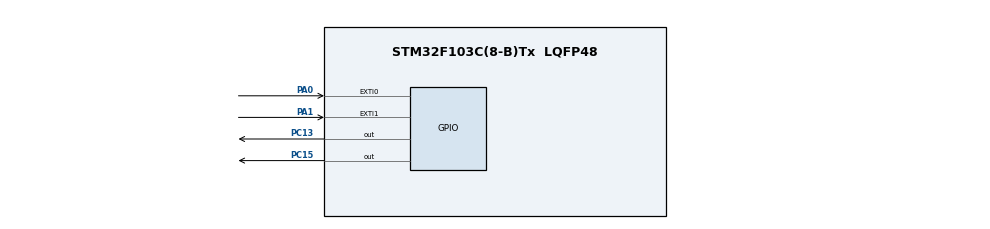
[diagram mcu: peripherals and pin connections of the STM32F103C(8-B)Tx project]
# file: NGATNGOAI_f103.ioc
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Mcu.Family=STM32F1
PC13-TAMPER-RTC.Signal=GPIO_Output
PA0-WKUP.GPIO_ModeDefaultEXTI=GPIO_MODE_IT_FALLING
ProjectManager.StackSize=0x400
PA0-WKUP.Signal=GPXTI0
PA13.Signal=SYS_JTMS-SWDIO
NVIC.EXTI1_IRQn=true\:1\:0\:true\:false\:true\:true\:true
ProjectManager.TargetToolchain=STM32CubeIDE
PC15-OSC32_OUT.Signal=GPIO_Output
PA1.GPIO_PuPd=GPIO_PULLUP
PA1.Signal=GPXTI1
board=custom
RCC.APB2Freq_Value=8000000
PA14.Mode=Serial_Wire
PA13.Mode=Serial_Wire
Mcu.Name=STM32F103C(8-B)Tx
NVIC.EXTI0_IRQn=true\:2\:0\:true\:false\:true\:true\:true
Mcu.Package=LQFP48
PA14.Signal=SYS_JTCK-SWCLK
ProjectManager.HeapSize=0x200
NVIC.PriorityGroup=NVIC_PRIORITYGROUP_4
PA0-WKUP.GPIO_PuPd=GPIO_PULLUP
RCC.APB1Freq_Value=8000000
PA1.GPIO_ModeDefaultEXTI=GPIO_MODE_IT_FALLING

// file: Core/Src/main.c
/* USER CODE BEGIN Header */
/**
  ******************************************************************************
  * @file           : main.c
  * @brief          : Main program body
  ******************************************************************************
  * @attention
  *
  * <h2><center>&copy; Copyright (c) 2021 STMicroelectronics.
  * All rights reserved.</center></h2>
  *
  * This software component is licensed by ST under BSD 3-Clause license,
  * the "License"; You may not use this file except in compliance with the
  * License. You may obtain a copy of the License at:
  *                        opensource.org/licenses/BSD-3-Clause
  *
  ******************************************************************************
  */
/* USER CODE END Header */
#include "main.h"

/* USER CODE BEGIN PD */
uint32_t x=0;

/* USER CODE END PD */

void SystemClock_Config(void);
static void MX_GPIO_Init(void);

int main(void)
{

  /* MCU Configuration--------------------------------------------------------*/

  /* Reset of all peripherals, Initializes the Flash interface and the Systick. */
  HAL_Init();

  /* Configure the system clock */
  SystemClock_Config();

  /* Initialize all configured peripherals */
  MX_GPIO_Init();

  /* Infinite loop */
  /* USER CODE BEGIN WHILE */
  while (1)
  {
	  HAL_GPIO_TogglePin(GPIOC,GPIO_PIN_13);
	  HAL_Delay(200);
	  if(x!=0){
	  			x=0;
	  		}
    /* USER CODE END WHILE */

  }
}

void SystemClock_Config(void)
{
  RCC_OscInitTypeDef RCC_OscInitStruct = {0};
  RCC_ClkInitTypeDef RCC_ClkInitStruct = {0};

  /** Initializes the RCC Oscillators according to the specified parameters
  * in the RCC_OscInitTypeDef structure.
  */
  RCC_OscInitStruct.OscillatorType = RCC_OSCILLATORTYPE_HSI;
  RCC_OscInitStruct.HSIState = RCC_HSI_ON;
  RCC_OscInitStruct.HSICalibrationValue = RCC_HSICALIBRATION_DEFAULT;
  RCC_OscInitStruct.PLL.PLLState = RCC_PLL_NONE;
  if (HAL_RCC_OscConfig(&RCC_OscInitStruct) != HAL_OK)
  {
    Error_Handler();
  }
  /** Initializes the CPU, AHB and APB buses clocks
  */
  RCC_ClkInitStruct.ClockType = RCC_CLOCKTYPE_HCLK|RCC_CLOCKTYPE_SYSCLK
                              |RCC_CLOCKTYPE_PCLK1|RCC_CLOCKTYPE_PCLK2;
  RCC_ClkInitStruct.SYSCLKSource = RCC_SYSCLKSOURCE_HSI;
  RCC_ClkInitStruct.AHBCLKDivider = RCC_SYSCLK_DIV1;
  RCC_ClkInitStruct.APB1CLKDivider = RCC_HCLK_DIV1;
  RCC_ClkInitStruct.APB2CLKDivider = RCC_HCLK_DIV1;

  if (HAL_RCC_ClockConfig(&RCC_ClkInitStruct, FLASH_LATENCY_0) != HAL_OK)
  {
    Error_Handler();
  }
}

static void MX_GPIO_Init(void)
{
  GPIO_InitTypeDef GPIO_InitStruct = {0};

  /* GPIO Ports Clock Enable */
  __HAL_RCC_GPIOC_CLK_ENABLE();
  __HAL_RCC_GPIOA_CLK_ENABLE();

  /*Configure GPIO pin Output Level */
  HAL_GPIO_WritePin(GPIOC, GPIO_PIN_13|GPIO_PIN_15, GPIO_PIN_RESET);

  /*Configure GPIO pins : PC13 PC15 */
  GPIO_InitStruct.Pin = GPIO_PIN_13|GPIO_PIN_15;
  GPIO_InitStruct.Mode = GPIO_MODE_OUTPUT_PP;
  GPIO_InitStruct.Pull = GPIO_NOPULL;
  GPIO_InitStruct.Speed = GPIO_SPEED_FREQ_LOW;
  HAL_GPIO_Init(GPIOC, &GPIO_InitStruct);

  /*Configure GPIO pins : PA0 PA1 */
  GPIO_InitStruct.Pin = GPIO_PIN_0|GPIO_PIN_1;
  GPIO_InitStruct.Mode = GPIO_MODE_IT_FALLING;
  GPIO_InitStruct.Pull = GPIO_PULLUP;
  HAL_GPIO_Init(GPIOA, &GPIO_InitStruct);

  /* EXTI interrupt init*/
  HAL_NVIC_SetPriority(EXTI0_IRQn, 2, 0);
  HAL_NVIC_EnableIRQ(EXTI0_IRQn);

  HAL_NVIC_SetPriority(EXTI1_IRQn, 1, 0);
  HAL_NVIC_EnableIRQ(EXTI1_IRQn);

}

/* USER CODE BEGIN 4 */

void HAL_GPIO_EXTI_Callback(uint16_t GPIO_Pin){
	delay_me(1000);
	if (GPIO_Pin == GPIO_PIN_0){
		while(x<5){
			x++;
			HAL_GPIO_WritePin(GPIOC, GPIO_PIN_13, 1);
			delay_me(2000);
			HAL_GPIO_WritePin(GPIOC, GPIO_PIN_13, 0);
			delay_me(2000);
		}

	}
	if (GPIO_Pin == GPIO_PIN_1){
		while(x<6){
		HAL_GPIO_TogglePin(GPIOC, GPIO_PIN_13);
		delay_me(1000);
		x++;
		}
	}
}
void delay_me(uint32_t delay){
	//
	uint32_t a= 568.181*delay;
	while(a--);
}
/* USER CODE END 4 */

void Error_Handler(void)
{
  __disable_irq();
  while (1)
  {
  }
}

/************************ (C) COPYRIGHT STMicroelectronics *****END OF FILE****/
